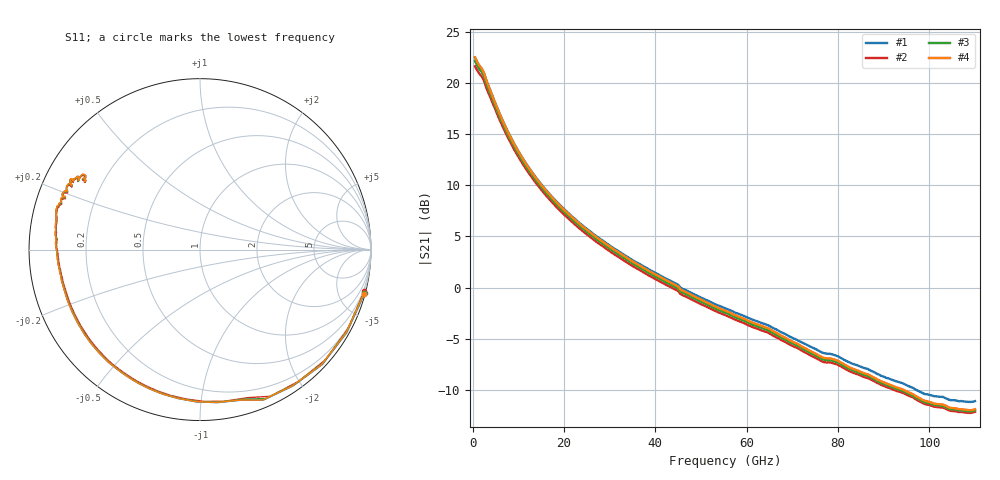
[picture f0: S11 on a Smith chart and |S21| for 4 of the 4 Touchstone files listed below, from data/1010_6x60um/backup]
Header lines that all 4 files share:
!Base file name = EG0520U_1010_6x60_2SDBCB2EV_1915934D06_RC7325
!Date = 8/23/2019
!Test duration(min) = 0.15
!Test = S-Parameters
!MPTS version = 8.91.5
!State File = C:\Data\PNA\20190821205423\S-Parameters_2019-08-23.sta
!Cal File =
!ComputerName = CMPE-LAB-6
!Comments =
!Input Power(dBm) = -13.00
!Device ID = EG0520U_1010_6x60_2SDBCB2EV
!Technology = QPHT09
!Lot/Wafer = 1915934D06
!Gate Size = 360
!Mask = EG0520
!Cal Standards = GaAs BCB
!Cal Kit = EG2306
!Job Number = 20190821205423
!Device Type = FET
!set_Vg(v) = -1.500
# GHz  S  DB  R  50
Fixed: Attenuation = 0, Z0 = 50, Row = 73, Column = 25
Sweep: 500 MHz to 110 GHz
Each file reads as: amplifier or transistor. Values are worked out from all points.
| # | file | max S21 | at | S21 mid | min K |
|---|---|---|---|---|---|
| 1 | EG0520U_1010_6x60_2SDBCB2EV_1915934D06_RC7325_3Vd_54mA.s2p | 22.5 dB | 500 MHz | -2.1 dB at 55.5 GHz | -1.41 |
| 2 | EG0520U_1010_6x60_2SDBCB2EV_1915934D06_RC7325_4Vd_36mA.s2p | 21.6 dB | 500 MHz | -2.7 dB at 55.5 GHz | -2.11 |
| 3 | EG0520U_1010_6x60_2SDBCB2EV_1915934D06_RC7325_4Vd_45mA.s2p | 22.1 dB | 500 MHz | -2.5 dB at 55.5 GHz | -2.04 |
| 4 | EG0520U_1010_6x60_2SDBCB2EV_1915934D06_RC7325_4Vd_54mA.s2p | 22.5 dB | 500 MHz | -2.3 dB at 55.5 GHz | -2.06 |
